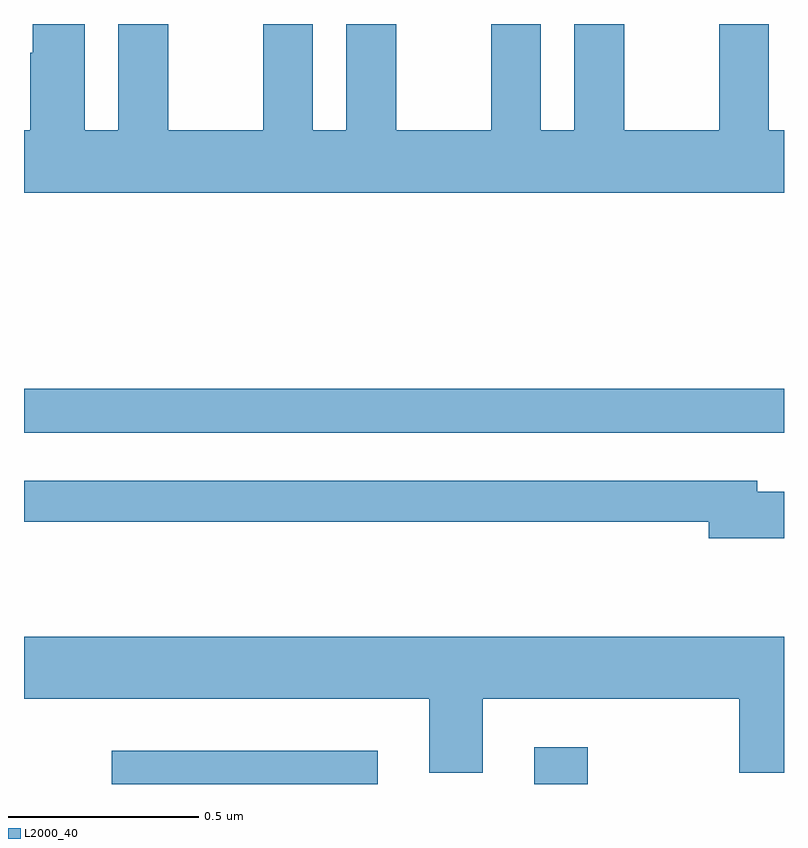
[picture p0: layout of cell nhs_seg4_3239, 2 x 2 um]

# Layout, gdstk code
import gdstk
lib = gdstk.Library(unit=1e-6, precision=1e-09)
def R(c, l, rs):  # rectangles x0, y0, x1, y1
    for r in rs: c.add(gdstk.rectangle(r[:2], r[2:], *l))
def P(c, l, *ps):  # polygons
    for p in ps: c.add(gdstk.Polygon(p, *l))
L2000_40 = (2000, 40)

nhs_seg4_3239 = lib.new_cell('nhs_seg4_3239')
R(nhs_seg4_3239, L2000_40, [(150.231,825.9,150.931,825.988), (151.343,825.9,151.483,825.997), (150,826.824,152,826.94)])
P(nhs_seg4_3239, L2000_40, [(152,827.62),(151.96,827.62),(151.96,827.9),(151.829,827.9),(151.829,827.62),(151.579,827.62),(151.579,827.9),(151.448,827.9),(151.448,827.62),(151.36,827.62),(151.36,827.9),(151.229,827.9),(151.229,827.62),(150.979,827.62),(150.979,827.9),(150.848,827.9),(150.848,827.62),(150.76,827.62),(150.76,827.9),(150.629,827.9),(150.629,827.62),(150.379,827.62),(150.379,827.9),(150.248,827.9),(150.248,827.62),(150.16,827.62),(150.16,827.9),(150.023,827.9),(150.023,827.825),(150.017,827.825),(150.017,827.62),(150,827.62),(150,827.456),(152,827.456)],
  [(152,826.669),(151.93,826.669),(151.93,826.698),(150,826.698),(150,826.59),(151.802,826.59),(151.802,826.547),(152,826.547)],
  [(151.207,826.124),(151.882,826.124),(151.882,825.93),(152,825.93),(152,826.288),(150,826.288),(150,826.124),(151.067,826.124),(151.067,825.93),(151.207,825.93)])

lib.write_gds('nhs_seg4_3239.gds')
